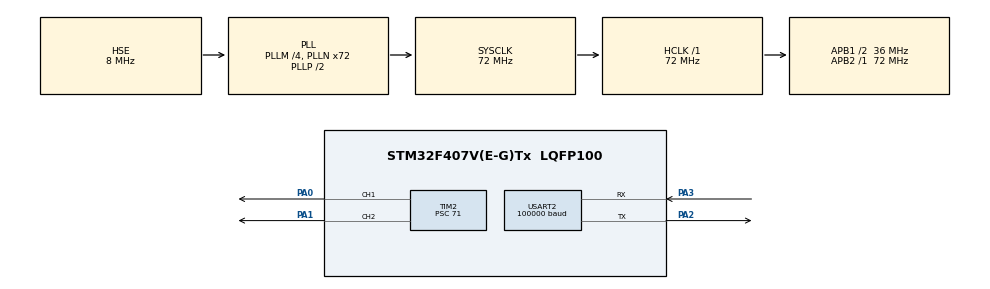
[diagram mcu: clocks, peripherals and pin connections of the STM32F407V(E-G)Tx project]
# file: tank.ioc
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Mcu.Family=STM32F4
Mcu.Name=STM32F407V(E-G)Tx
Mcu.Package=LQFP100
NVIC.PriorityGroup=NVIC_PRIORITYGROUP_4
NVIC.USART2_IRQn=true\:0\:0\:false\:false\:true\:true\:true
PA0-WKUP.Signal=S_TIM2_CH1_ETR
PA1.Signal=S_TIM2_CH2
PA13.Mode=Serial_Wire
PA13.Signal=SYS_JTMS-SWDIO
PA14.Mode=Serial_Wire
PA14.Signal=SYS_JTCK-SWCLK
PA2.Mode=Asynchronous
PA2.Signal=USART2_TX
PA3.Mode=Asynchronous
PA3.Signal=USART2_RX
PH0-OSC_IN.Mode=HSE-External-Oscillator
PH0-OSC_IN.Signal=RCC_OSC_IN
PH1-OSC_OUT.Mode=HSE-External-Oscillator
PH1-OSC_OUT.Signal=RCC_OSC_OUT
ProjectManager.HeapSize=0x200
ProjectManager.StackSize=0x400
ProjectManager.TargetToolchain=MDK-ARM V5.27
RCC.48MHZClocksFreq_Value=36000000
RCC.AHBFreq_Value=72000000
RCC.APB1CLKDivider=RCC_HCLK_DIV2
RCC.APB1Freq_Value=36000000
RCC.APB1TimFreq_Value=72000000
RCC.APB2Freq_Value=72000000
RCC.APB2TimFreq_Value=72000000
RCC.CortexFreq_Value=72000000
RCC.HCLKFreq_Value=72000000
RCC.HSE_VALUE=8000000
RCC.HSI_VALUE=16000000
RCC.LSE_VALUE=32768
RCC.PLLM=4
RCC.PLLN=72
RCC.PLLSourceVirtual=RCC_PLLSOURCE_HSE
RCC.SYSCLKFreq_VALUE=72000000
RCC.SYSCLKSource=RCC_SYSCLKSOURCE_PLLCLK
RCC.VCOOutputFreq_Value=144000000
SH.S_TIM2_CH1_ETR.0=TIM2_CH1,PWM Generation1 CH1
SH.S_TIM2_CH2.0=TIM2_CH2,PWM Generation2 CH2
TIM2.AutoReloadPreload=TIM_AUTORELOAD_PRELOAD_ENABLE
TIM2.Channel-PWM\ Generation1\ CH1=TIM_CHANNEL_1
TIM2.Channel-PWM\ Generation2\ CH2=TIM_CHANNEL_2
TIM2.Period=999
TIM2.Prescaler=71
USART2.BaudRate=100000
USART2.Parity=PARITY_EVEN
USART2.StopBits=STOPBITS_2
USART2.VirtualMode=VM_ASYNC
USART2.WordLength=WORDLENGTH_9B
VP_TIM2_VS_ClockSourceINT.Mode=Internal
board=custom

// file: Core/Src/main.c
/* USER CODE BEGIN Header */
/**
  ******************************************************************************
  * @file           : main.c
  * @brief          : Main program body
  ******************************************************************************
  * @attention
  *
  * <h2><center>&copy; Copyright (c) 2021 STMicroelectronics.
  * All rights reserved.</center></h2>
  *
  * This software component is licensed by ST under BSD 3-Clause license,
  * the "License"; You may not use this file except in compliance with the
  * License. You may obtain a copy of the License at:
  *                        opensource.org/licenses/BSD-3-Clause
  *
  ******************************************************************************
  */
/* USER CODE END Header */
#include "main.h"
#include "tim.h"
#include "usart.h"
#include "gpio.h"

/* USER CODE BEGIN Includes */
#include <string.h>

/* USER CODE END Includes */

void SystemClock_Config(void);

/* USER CODE BEGIN 0 */
uint8_t indata[1];
uint8_t SBUS_in[25];
int num=0;
uint16_t ch[16];
void SBUS_intoCH(void){
ch[0]  = ((SBUS_in[1]|SBUS_in[2]<<8)                      & 0x07FF);
ch[1]  = ((SBUS_in[2]>>3 |SBUS_in[3]<<5)                 & 0x07FF);
ch[2]  = ((SBUS_in[3]>>6 |SBUS_in[4]<<2 |SBUS_in[5]<<10)  & 0x07FF);
ch[3]  = ((SBUS_in[5]>>1 |SBUS_in[6]<<7)                 & 0x07FF);
ch[4]  = ((SBUS_in[6]>>4 |SBUS_in[7]<<4)                 & 0x07FF);
ch[5]  = ((SBUS_in[7]>>7 |SBUS_in[8]<<1 |SBUS_in[9]<<9)   & 0x07FF);
ch[6]  = ((SBUS_in[9]>>2 |SBUS_in[10]<<6)                & 0x07FF);
ch[7]  = ((SBUS_in[10]>>5|SBUS_in[11]<<3)                & 0x07FF);
ch[8]  = ((SBUS_in[12]   |SBUS_in[13]<<8)                & 0x07FF);
ch[9]  = ((SBUS_in[13]>>3|SBUS_in[14]<<5)                & 0x07FF);
ch[10] = ((SBUS_in[14]>>6|SBUS_in[15]<<2|SBUS_in[16]<<10) & 0x07FF);
ch[11] = ((SBUS_in[16]>>1|SBUS_in[17]<<7)                & 0x07FF);
ch[12] = ((SBUS_in[17]>>4|SBUS_in[18]<<4)                & 0x07FF);
ch[13] = ((SBUS_in[18]>>7|SBUS_in[19]<<1|SBUS_in[20]<<9)  & 0x07FF);
ch[14] = ((SBUS_in[20]>>2|SBUS_in[21]<<6)                & 0x07FF);
ch[15] = ((SBUS_in[21]>>5|SBUS_in[22]<<3)                & 0x07FF);
}
int val1;
int val2;
int motor;
int dir;
/* USER CODE END 0 */

int main(void)
{

  /* MCU Configuration--------------------------------------------------------*/

  /* Reset of all peripherals, Initializes the Flash interface and the Systick. */
  HAL_Init();

  /* Configure the system clock */
  SystemClock_Config();

  /* Initialize all configured peripherals */
  MX_GPIO_Init();
  MX_TIM2_Init();
  MX_USART2_UART_Init();
  /* USER CODE BEGIN 2 */
	HAL_UART_Receive_IT(&huart2,indata, 1);
	HAL_TIM_PWM_Start(&htim2,TIM_CHANNEL_1);
	HAL_TIM_PWM_Start(&htim2,TIM_CHANNEL_2);
  /* USER CODE END 2 */

  /* Infinite loop */
  /* USER CODE BEGIN WHILE */
  while (1)
  {
		motor=ch[2]-800;//300-1800
		dir=ch[3]-1024;//300-1800
		if(motor<0)motor=0;
		val1=(motor*1.3+dir*0.7)/2;
		val2=(motor*1.3-dir*0.7)/2;
		if(val1<0)val1=0;
		if(val2<0)val2=0;
		__HAL_TIM_SetCompare(&htim2,TIM_CHANNEL_1,val1);
		__HAL_TIM_SetCompare(&htim2,TIM_CHANNEL_2,val2);
		HAL_Delay(1);
    /* USER CODE END WHILE */

  }
}

void SystemClock_Config(void)
{
  RCC_OscInitTypeDef RCC_OscInitStruct = {0};
  RCC_ClkInitTypeDef RCC_ClkInitStruct = {0};

  /** Configure the main internal regulator output voltage
  */
  __HAL_RCC_PWR_CLK_ENABLE();
  __HAL_PWR_VOLTAGESCALING_CONFIG(PWR_REGULATOR_VOLTAGE_SCALE1);
  /** Initializes the RCC Oscillators according to the specified parameters
  * in the RCC_OscInitTypeDef structure.
  */
  RCC_OscInitStruct.OscillatorType = RCC_OSCILLATORTYPE_HSE;
  RCC_OscInitStruct.HSEState = RCC_HSE_ON;
  RCC_OscInitStruct.PLL.PLLState = RCC_PLL_ON;
  RCC_OscInitStruct.PLL.PLLSource = RCC_PLLSOURCE_HSE;
  RCC_OscInitStruct.PLL.PLLM = 4;
  RCC_OscInitStruct.PLL.PLLN = 72;
  RCC_OscInitStruct.PLL.PLLP = RCC_PLLP_DIV2;
  RCC_OscInitStruct.PLL.PLLQ = 4;
  if (HAL_RCC_OscConfig(&RCC_OscInitStruct) != HAL_OK)
  {
    Error_Handler();
  }
  /** Initializes the CPU, AHB and APB buses clocks
  */
  RCC_ClkInitStruct.ClockType = RCC_CLOCKTYPE_HCLK|RCC_CLOCKTYPE_SYSCLK
                              |RCC_CLOCKTYPE_PCLK1|RCC_CLOCKTYPE_PCLK2;
  RCC_ClkInitStruct.SYSCLKSource = RCC_SYSCLKSOURCE_PLLCLK;
  RCC_ClkInitStruct.AHBCLKDivider = RCC_SYSCLK_DIV1;
  RCC_ClkInitStruct.APB1CLKDivider = RCC_HCLK_DIV2;
  RCC_ClkInitStruct.APB2CLKDivider = RCC_HCLK_DIV1;

  if (HAL_RCC_ClockConfig(&RCC_ClkInitStruct, FLASH_LATENCY_2) != HAL_OK)
  {
    Error_Handler();
  }
}

/* USER CODE BEGIN 4 */

void HAL_UART_RxCpltCallback(UART_HandleTypeDef *huart)
{
	if(num!=0||indata[0]==0x0f){
		if(indata[0]==0x0f)num=0;
		SBUS_in[num++]=indata[0];
		if(num==25){num=0;SBUS_intoCH();}
	}
	HAL_UART_Receive_IT(&huart2,indata, 1);
}
/* USER CODE END 4 */

void Error_Handler(void)
{
  __disable_irq();
  while (1)
  {
  }
}

/************************ (C) COPYRIGHT STMicroelectronics *****END OF FILE****/
